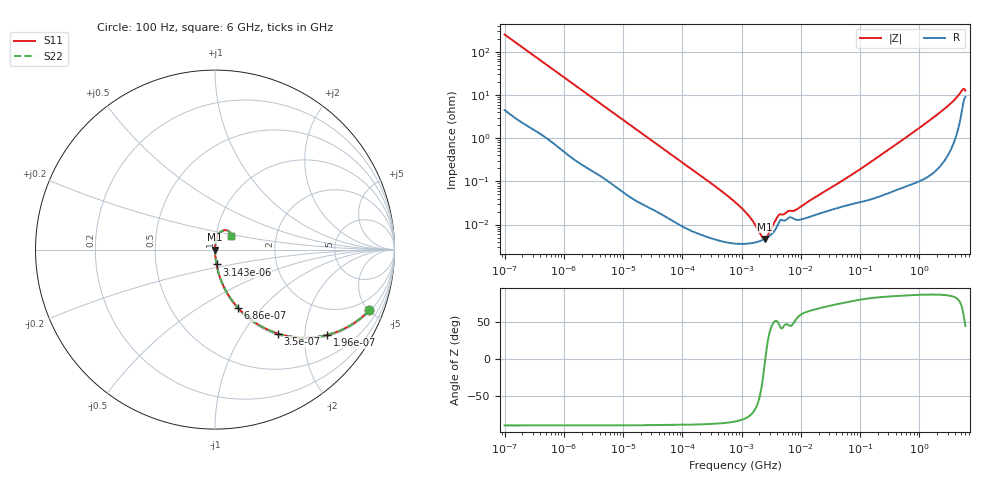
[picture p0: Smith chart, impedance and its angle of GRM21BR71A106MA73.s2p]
!Murata Part Number: GRM21BR71A106MA73
!These Parameters are Measured in Series Mode Connection
!Data Generated on Mar 30, 2021
!  o--ll--o
!Port1  Port2
!  o------o
!Operation Temp=25[degC], DC Bias Voltage=0[V]
!Freq. Start=100[Hz] Stop=6[GHz] 401[Steps]
# Hz S RI R 50
!Freq.(Hz) S11(Real) S11(Imag) S21(Real) S21(Imag) S12(Real) S12(Imag) S22(Real) S22(Imag)
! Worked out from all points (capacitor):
!   401 points, 100 Hz to 6 GHz, reference 50 ohm
!   read as one part in series: C = 6.27 uF near 109 Hz
!   lowest |Z| = 4.67 mohm at 2.481 MHz (marker M1)
!   series resonance near 2.511 MHz, so ESL is about 640 pH
!   S11 on the Smith chart (normalised r, x): 100 Hz: 1.09, -5.06; 196 Hz: 1.05, -2.60; 350 Hz: 1.03, -1.46; 686 Hz: 1.01, -0.75; 3.143 kHz: 1.00, -0.17; 6 GHz: 1.18, +0.18
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100  0.8603 -0.3379  0.1397 0.3379  0.1397 0.3379  0.8603 -0.3379
196  0.6262 -0.475  0.3738 0.475  0.3738 0.475  0.6262 -0.475
350  0.3513 -0.4678  0.6487 0.4678  0.6487 0.4678  0.3513 -0.4678
686  0.1294 -0.326  0.8706 0.326  0.8706 0.326  0.1294 -0.326
1122  0.0547 -0.2183  0.9453 0.2183  0.9453 0.2183  0.0547 -0.2183
2008  0.019 -0.1275  0.981 0.1275  0.981 0.1275  0.019 -0.1275
3143  0.0086 -0.0828  0.9914 0.0828  0.9914 0.0828  0.0086 -0.0828
40335  0.000232 -0.00674  0.9998 0.00674  0.9998 0.00674  0.000232 -0.00674
774597  3.63e-05 -0.000331  1 0.000331  1 0.000331  3.63e-05 -0.000331
1159002  3.59e-05 -0.000193  1 0.000193  1 0.000193  3.59e-05 -0.000193
1658239  3.83e-05 -9.72e-05  1 9.72e-05  1 9.72e-05  3.83e-05 -9.72e-05
2481164  4.66e-05 -2.7e-06  1 2.7e-06  1 2.7e-06  4.66e-05 -2.7e-06
3245845  6.06e-05 6.14e-05  0.9999 -6.14e-05  0.9999 -6.14e-05  6.06e-05 6.14e-05
4440638  0.000124 0.000121  0.9999 -0.000121  0.9999 -0.000121  0.000124 0.000121
8311524  0.00013 0.000177  0.9999 -0.000177  0.9999 -0.000177  0.00013 0.000177
1.555665e7  0.000159 0.000356  0.9998 -0.000356  0.9998 -0.000356  0.000159 0.000356
7.129496e7  0.000297 0.00138  0.9997 -0.00138  0.9997 -0.00138  0.000297 0.00138
3.124326e8  0.000576 0.00558  0.9994 -0.00558  0.9994 -0.00558  0.000576 0.00558
1.497423e9  0.00203 0.0259  0.998 -0.0259  0.998 -0.0259  0.00203 0.0259
3.505958e9  0.0102 0.0654  0.9898 -0.0654  0.9898 -0.0654  0.0102 0.0654
5.245841e9  0.054 0.1086  0.946 -0.1086  0.946 -0.1086  0.054 0.1086
6e9  0.0887 0.0743  0.9113 -0.0743  0.9113 -0.0743  0.0887 0.0743
